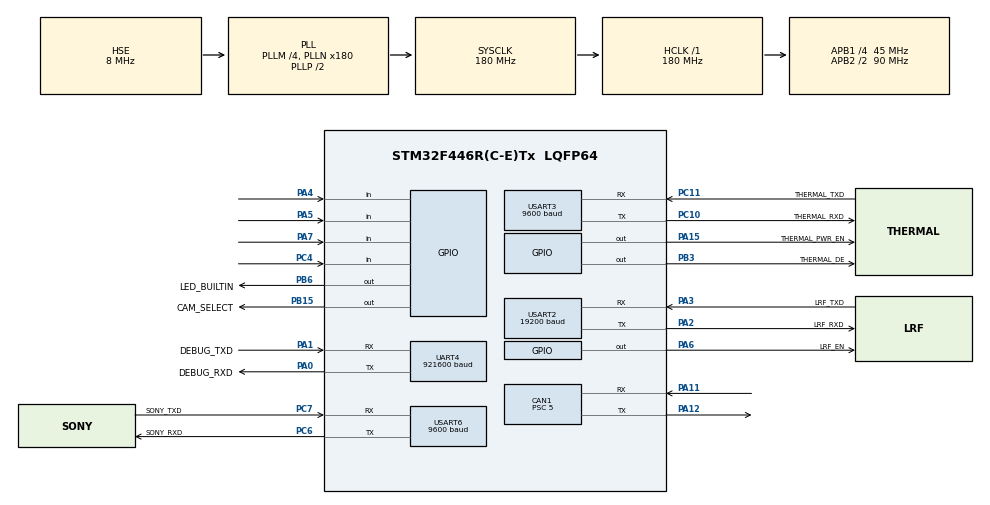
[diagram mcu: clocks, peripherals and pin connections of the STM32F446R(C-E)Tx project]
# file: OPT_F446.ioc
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CAN1.BS1=CAN_BS1_15TQ
CAN1.BS2=CAN_BS2_2TQ
CAN1.CalculateBaudRate=500000
CAN1.CalculateTimeBit=1999.99
CAN1.CalculateTimeQuantum=111.11111111111111
CAN1.Prescaler=5
IWDG.Prescaler=IWDG_PRESCALER_128
IWDG.Reload=125
Mcu.Family=STM32F4
Mcu.Name=STM32F446R(C-E)Tx
Mcu.Package=LQFP64
NVIC.CAN1_RX0_IRQn=true\:5\:0\:true\:false\:true\:true\:true
NVIC.CAN1_RX1_IRQn=true\:6\:0\:true\:false\:true\:true\:true
NVIC.CAN1_TX_IRQn=true\:4\:0\:true\:false\:true\:true\:true
NVIC.PriorityGroup=NVIC_PRIORITYGROUP_4
NVIC.UART4_IRQn=true\:15\:0\:true\:false\:false\:true\:true
NVIC.USART2_IRQn=true\:7\:0\:true\:false\:false\:true\:true
NVIC.USART3_IRQn=true\:9\:0\:true\:false\:false\:true\:true
NVIC.USART6_IRQn=true\:8\:0\:true\:false\:false\:true\:true
PA0-WKUP.GPIO_Label=DEBUG_RXD
PA0-WKUP.Mode=Asynchronous
PA0-WKUP.Signal=UART4_TX
PA1.GPIO_Label=DEBUG_TXD
PA1.Mode=Asynchronous
PA1.Signal=UART4_RX
PA10.GPIO_Label=RESV_TXD
PA10.Signal=USART1_RX
PA11.Mode=CAN_Activate
PA11.Signal=CAN1_RX
PA12.Mode=CAN_Activate
PA12.Signal=CAN1_TX
PA13.GPIO_Label=TMS
PA13.Mode=Serial_Wire
PA13.Signal=SYS_JTMS-SWDIO
PA14.GPIO_Label=TCK
PA14.Mode=Serial_Wire
PA14.Signal=SYS_JTCK-SWCLK
PA15.GPIO_Label=THERMAL_PWR_EN
PA15.GPIO_PuPd=GPIO_PULLUP
PA15.Signal=GPIO_Output
PA2.GPIO_Label=LRF_RXD
PA2.Mode=Asynchronous
PA2.Signal=USART2_TX
PA3.GPIO_Label=LRF_TXD
PA3.Mode=Asynchronous
PA3.Signal=USART2_RX
PA4.Signal=GPIO_Input
PA5.Signal=GPIO_Input
PA6.GPIO_Label=LRF_EN
PA6.GPIO_PuPd=GPIO_PULLUP
PA6.GPIO_Speed=GPIO_SPEED_FREQ_VERY_HIGH
PA6.PinState=GPIO_PIN_SET
PA6.Signal=GPIO_Output
PA7.Signal=GPIO_Input
PA9.GPIO_Label=RESV_RXD
PA9.Signal=USART1_TX
PB15.GPIO_Label=CAM_SELECT
PB15.GPIO_PuPd=GPIO_PULLUP
PB15.Signal=GPIO_Output
PB3.GPIO_Label=THERMAL_DE
PB3.GPIO_PuPd=GPIO_PULLUP
PB3.GPIO_Speed=GPIO_SPEED_FREQ_VERY_HIGH
PB3.Signal=GPIO_Output
PB6.GPIO_Label=LED_BUILTIN
PB6.GPIO_PuPd=GPIO_PULLUP
PB6.PinState=GPIO_PIN_SET
PB6.Signal=GPIO_Output
PC10.GPIO_Label=THERMAL_RXD
PC10.Mode=Asynchronous
PC10.Signal=USART3_TX
PC11.GPIO_Label=THERMAL_TXD
PC11.Mode=Asynchronous
PC11.Signal=USART3_RX
PC12.GPIO_Label=IMU_RXD
PC12.Signal=UART5_TX
PC4.Signal=GPIO_Input
PC6.GPIO_Label=SONY_RXD
PC6.Mode=Asynchronous
PC6.Signal=USART6_TX
PC7.GPIO_Label=SONY_TXD
PC7.Mode=Asynchronous
PC7.Signal=USART6_RX
PD2.GPIO_Label=IMU_TXD
PD2.Signal=UART5_RX
PH0-OSC_IN.Mode=HSE-External-Oscillator
PH0-OSC_IN.Signal=RCC_OSC_IN
PH1-OSC_OUT.Mode=HSE-External-Oscillator
PH1-OSC_OUT.Signal=RCC_OSC_OUT
ProjectManager.HeapSize=0x200
ProjectManager.StackSize=0x400
ProjectManager.TargetToolchain=TrueSTUDIO
RCC.48MHZClocksFreq_Value=84000000
RCC.AHBFreq_Value=180000000
RCC.APB1CLKDivider=RCC_HCLK_DIV4
RCC.APB1Freq_Value=45000000
RCC.APB1TimFreq_Value=90000000
RCC.APB2CLKDivider=RCC_HCLK_DIV2
RCC.APB2Freq_Value=90000000
RCC.APB2TimFreq_Value=180000000
RCC.CortexFreq_Value=180000000
RCC.FLatency-AdvancedSettings=FLASH_LATENCY_5
RCC.HCLKFreq_Value=180000000
RCC.HSE_VALUE=8000000
RCC.HSI_VALUE=16000000
RCC.PLLM=4
RCC.PLLN=180
RCC.PLLSourceVirtual=RCC_PLLSOURCE_HSE
RCC.SYSCLKFreq_VALUE=180000000
RCC.SYSCLKSource=RCC_SYSCLKSOURCE_PLLCLK
RCC.USBFreq_Value=180000000
RCC.VCOOutputFreq_Value=360000000
UART4.BaudRate=921600
UART4.VirtualMode=Asynchronous
USART2.BaudRate=19200
USART2.VirtualMode=VM_ASYNC
USART3.BaudRate=9600
USART3.VirtualMode=VM_ASYNC
USART6.BaudRate=9600
USART6.VirtualMode=VM_ASYNC
VP_IWDG_VS_IWDG.Mode=IWDG_Activate
board=NUCLEO-F446RE

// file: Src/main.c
/* USER CODE BEGIN Header */
/**
 ******************************************************************************
 * @file           : main.c
 * @brief          : Main program body
 ******************************************************************************
 * @attention
 *
 * <h2><center>&copy; Copyright (c) 2021 STMicroelectronics.
 * All rights reserved.</center></h2>
 *
 * This software component is licensed by ST under BSD 3-Clause license,
 * the "License"; You may not use this file except in compliance with the
 * License. You may obtain a copy of the License at:
 *                        opensource.org/licenses/BSD-3-Clause
 *
 ******************************************************************************
 */
/* USER CODE END Header */
#include "main.h"

/* USER CODE BEGIN Includes */
#include <string.h>
#include <stdio.h>
#include <stdlib.h>
#include <assert.h>

#include "rwsCanID.h"
#include "stm_hal_serial.h"
#include "libVisca.h"
/* USER CODE END Includes */

CAN_HandleTypeDef hcan1;

IWDG_HandleTypeDef hiwdg;

UART_HandleTypeDef huart4;
UART_HandleTypeDef huart2;
UART_HandleTypeDef huart3;
UART_HandleTypeDef huart6;

/* USER CODE BEGIN PV */
/* Private variables ---------------------------------------------------------*/
/* TODO Global Variables*/

#define DEBUG					0
#if DEBUG==1
#	define DEBUG_BUS			1
#	define DEBUG_CAM			1
#	define DEBUG_LRF			1
#endif	//if DEBUG==1

#define bitRead(value, bit) (((value) >> (bit)) & 0x01)
#define bitSet(value, bit) ((value) |= (1UL << (bit)))
#define bitClear(value, bit) ((value) &= ~(1UL << (bit)))
#define bitWrite(value, bit, bitvalue) (bitvalue ? bitSet(value, bit) : bitClear(value, bit))

#define UART_BUFSIZE	RING_BUFFER_SIZE

uint16_t bufLen = 0;
char buf[128];

#if DEBUG==1
Ring_Buffer_t tx4Buffer = { { 0 }, 0, 0 };
Ring_Buffer_t rx4Buffer = { { 0 }, 0, 0 };
TSerial debug = { &rx4Buffer, &tx4Buffer, &huart4 };

char vt100_home[10];
#define DEBUG_LINE_MAX		25
char vt100_lineX[DEBUG_LINE_MAX][16];
#endif	//if DEBUG==1

Ring_Buffer_t tx6Buffer = { { 0 }, 0, 0 };
Ring_Buffer_t rx6Buffer = { { 0 }, 0, 0 };
TSerial sony = { &rx6Buffer, &tx6Buffer, &huart6 };
volatile uint8_t sonyRetState = 0;

Ring_Buffer_t tx3Buffer = { { 0 }, 0, 0 };
Ring_Buffer_t rx3Buffer = { { 0 }, 0, 0 };
TSerial thermal = { &rx3Buffer, &tx3Buffer, &huart3 };
volatile uint8_t thermalRetState = 0;

Ring_Buffer_t tx2Buffer = { { 0 }, 0, 0 };
Ring_Buffer_t rx2Buffer = { { 0 }, 0, 0 };
TSerial lrf = { &rx2Buffer, &tx2Buffer, &huart2 };

VISCAInterface_t sonyIface;
VISCACamera_t sonyCamera;

#define SONY_FOCUS_SPEED			1
typedef enum
{
	SONY_FOCUS_SPEED_0 = 0,
	SONY_FOCUS_SPEED_1,
	SONY_FOCUS_SPEED_2,
	SONY_FOCUS_SPEED_3,
	SONY_FOCUS_SPEED_4,
	SONY_FOCUS_SPEED_5,
	SONY_FOCUS_SPEED_6,
	SONY_FOCUS_SPEED_7
} SonyFocusSpeed_e;
uint8_t sonyFocusSpeedByZoom[4] = { SONY_FOCUS_SPEED_3, SONY_FOCUS_SPEED_3, SONY_FOCUS_SPEED_2,
		SONY_FOCUS_SPEED_2 };

typedef enum
{
	ZOOM_IN_bit = 1,
	ZOOM_OUT_bit,
	FOCUS_FAR_bit,
	FOCUS_NEAR_bit,
	BRIGHTNESS_UP_bit,
	BRIGHTNESS_DOWN_bit
} ZoomFocusAperture_bitMasking;

typedef enum
{
	zf_none = 0,
	zf_plus = 1,
	zf_min = 2
} ZoomFocus_value;

typedef enum
{
	CAM_ST_NONE = 0,
	CAM_ST_SONY = 1,
	CAM_ST_THERMAL = 2
} CameraState_e;

typedef enum
{
	BR_ST_NONE = 0,
	BR_ST_UP,
	BR_ST_DOWN
} BrightnessState_e;

typedef struct
{
	uint8_t camState;
	uint8_t zoomState;
	uint8_t focusState;
	uint8_t zoomValue;
	uint8_t focusValue;
	uint8_t brightnessState;
} TCameraData;
TCameraData camData = { CAM_ST_NONE, 0, 0, 0, 0 };

const uint8_t zoomMin[7] = { 0xFF, 0x01, 0, 0x40, 0, 0, 0x41 };
const uint8_t zoomMax[7] = { 0xFF, 0x01, 0, 0x20, 0, 0, 0x21 };
const uint8_t focusMin[7] = { 0xFF, 0x01, 0x01, 0, 0, 0, 0x02 };
const uint8_t focusMax[7] = { 0xFF, 0x01, 0, 0x80, 0, 0, 0x81 };
const uint8_t zfStop[7] = { 0xFF, 0x01, 0, 0, 0, 0, 0x01 };

#define LRF_BUFSIZE		16
typedef enum
{
	LRF_STATE_STANDBY,
	LRF_STATE_POWER_ON,
	LRF_STATE_READY,
	LRF_STATE_1_MEASUREMENT,
	LRF_STATE_DELAY_MEASUREMENT,
	LRF_STATE_CONT_MEASUREMENT,
	LRF_STATE_POWER_OFF
} LRF_StateTypeDef;

typedef enum
{
	LRF_CMD_ENABLE_bit = 0,
	LRF_CMD_START_bit = 1,
	LRF_CMD_START_CONT_bit = 2,
	LRF_CMD_POINTER_bit = 3
} LRF_CommandTypeDef;

typedef struct
{
	uint8_t state;
	uint8_t validCounter;
	uint16_t distance;
	uint8_t buf[LRF_BUFSIZE];
} LRF_HandleTypeDef;
LRF_HandleTypeDef lrfData = { LRF_STATE_STANDBY, 0, 0, { 0 } };

#define CAN_BUFSIZE		8

CAN_TxHeaderTypeDef can1TxHeader;
CAN_RxHeaderTypeDef can1RxHeader;
uint32_t can1TxMailBox;
uint8_t can1TxBuffer[CAN_BUFSIZE];
uint8_t can1RxBuffer[CAN_BUFSIZE];
const uint32_t CAN_RECEIVE_TIMEOUT = 500;

volatile bool canTransmitState = false;

typedef struct
{
	uint32_t id;
	volatile bool state;
	uint8_t data[8];
	uint8_t size;
	uint8_t online;
} TCanRecvBuffer;

typedef struct
{
	uint32_t id;
	uint8_t data[8];
	uint8_t size;
} TCanSendBuffer;

TCanRecvBuffer canRecvButton = { CAN_ID_RWS_BUTTON, false, { 0 }, 3, 0 };

TCanSendBuffer canSendOptLrf = { CAN_ID_RWS_OPT_LRF, { 0 }, 3 };
TCanSendBuffer canSendOptCam = { CAN_ID_RWS_OPT_CAM, { 0 }, 1 };
/* USER CODE END PV */

void SystemClock_Config(void);
static void MX_GPIO_Init(void);
static void MX_CAN1_Init(void);
static void MX_USART2_UART_Init(void);
static void MX_USART3_UART_Init(void);
static void MX_USART6_UART_Init(void);
static void MX_UART4_Init(void);
static void MX_IWDG_Init(void);
/* USER CODE BEGIN PFP */
/* Private function prototypes -----------------------------------------------*/
static void CAN_Config();
static void canHandler();
static void camHandler();
static void lrfHandler();
/* USER CODE END PFP */

int main(void)
{

  /* MCU Configuration--------------------------------------------------------*/

  /* Reset of all peripherals, Initializes the Flash interface and the Systick. */
  HAL_Init();

  /* Configure the system clock */
  SystemClock_Config();

  /* USER CODE BEGIN SysInit */
#if DEBUG==1
	sprintf(vt100_home, "\x1b[2J\x1b[H");
	unsigned char debugLine = 0;
	for ( debugLine = 0; debugLine < DEBUG_LINE_MAX; debugLine++ )
		sprintf(vt100_lineX[debugLine], "\x1b[%d;0H\x1b[2K", debugLine);
#endif	//if DEBUG==1
  /* USER CODE END SysInit */

  /* Initialize all configured peripherals */
  MX_GPIO_Init();
  MX_CAN1_Init();
  MX_USART2_UART_Init();
  MX_USART3_UART_Init();
  MX_USART6_UART_Init();
  MX_UART4_Init();
  MX_IWDG_Init();
  /* USER CODE BEGIN 2 */
	/* TODO Initialization*/
	HAL_IWDG_Init(&hiwdg);
	HAL_IWDG_Refresh(&hiwdg);

#if DEBUG==1
	serial_init(&debug);

	bufLen = sprintf(buf, "%sOptronik Firmware\r\n", vt100_home);
	serial_write_str(&debug, buf, bufLen);
#endif	//if DEBUG==1

	sonyIface.port_fd = &sony;
	sonyIface.broadcast = 0;
	sonyCamera.address = 1;

	serial_init(&sony);
	serial_init(&thermal);
	serial_init(&lrf);

	/*##-1- Configure the CAN peripheral #######################################*/
	CAN_Config();

  /* USER CODE END 2 */

  /* Infinite loop */
  /* USER CODE BEGIN WHILE */
	uint32_t millis;
	uint32_t ledTimer = 1000;

	while (1) {
		HAL_IWDG_Refresh(&hiwdg);
		millis = HAL_GetTick();
    /* USER CODE END WHILE */

    /* USER CODE BEGIN 3 */
		/* TODO BEGIN LOOP*/

		canHandler();
		lrfHandler();
		camHandler();

		if (millis >= ledTimer) {
			ledTimer = millis + 500;

			if (canRecvButton.online)
				HAL_GPIO_TogglePin(LED_BUILTIN_GPIO_Port, LED_BUILTIN_Pin);
			else
				HAL_GPIO_WritePin(LED_BUILTIN_GPIO_Port, LED_BUILTIN_Pin, GPIO_PIN_RESET);
		}

#if DEBUG_CAM==1
		if (serial_available(&debug)) {
			char c = serial_read(&debug);
			uint16_t shutterValue = 0x6;
			uint8_t mode = 0;

			switch (c)
			{
			case 'g':
				/* get auto exp mode */
				if (VISCA_get_auto_exp_mode(&sonyIface, &sonyCamera, &mode) == VISCA_SUCCESS)
					bufLen = sprintf(buf, "%sauto exp mode: %d\r\n", vt100_lineX[4], mode);
				else
					bufLen = sprintf(buf, "%sfailed to get AE mode\r\n", vt100_lineX[4]);
				serial_write_str(&debug, buf, bufLen);
				break;
			case 'f':
				/* auto exp set to full auto */
				VISCA_set_auto_exp_mode(&sonyIface, &sonyCamera, VISCA_AUTO_EXP_FULL_AUTO);
				bufLen = sprintf(buf, "%sauto exp: FULL AUTO mode\r\n", vt100_lineX[4]);
				serial_write_str(&debug, buf, bufLen);
				break;
			case 's':
				/* auto exp set to shutter priority */
				VISCA_set_auto_exp_mode(&sonyIface, &sonyCamera, VISCA_AUTO_EXP_SHUTTER_PRIORITY);
				VISCA_get_shutter_value(&sonyIface, &sonyCamera, &shutterValue);
				bufLen = sprintf(buf, "%sauto exp: shutterPriority mode\tshutterValue= 0x%02X\r\n",
						vt100_lineX[4], shutterValue);
				serial_write_str(&debug, buf, bufLen);
				break;
			case 'u':
				/* shutter value up */
				VISCA_set_shutter_up(&sonyIface, &sonyCamera);
				VISCA_get_shutter_value(&sonyIface, &sonyCamera, &shutterValue);
				bufLen = sprintf(buf, "%sshutterUP Value= 0x%02X\r\n", vt100_lineX[4],
						shutterValue);
				serial_write_str(&debug, buf, bufLen);
				break;
			case 'd':
				/* shutter value down */
				VISCA_set_shutter_down(&sonyIface, &sonyCamera);
				VISCA_get_shutter_value(&sonyIface, &sonyCamera, &shutterValue);
				bufLen = sprintf(buf, "%sshutterDown Value= 0x%02X\r\n", vt100_lineX[4],
						shutterValue);
				serial_write_str(&debug, buf, bufLen);
				break;
			case 'r':
				/* shutter value reset */
				VISCA_set_shutter_reset(&sonyIface, &sonyCamera);
				VISCA_get_shutter_value(&sonyIface, &sonyCamera, &shutterValue);
				bufLen = sprintf(buf, "%sRESET shutterValue= 0x%02X\r\n", vt100_lineX[4],
						shutterValue);
				serial_write_str(&debug, buf, bufLen);
				break;
			case 'v':
				if (VISCA_get_shutter_value(&sonyIface, &sonyCamera, &shutterValue) == VISCA_SUCCESS)
					bufLen = sprintf(buf, "%sshutterValue= 0x%02X\r\n", vt100_lineX[4],
							shutterValue);
				else
					bufLen = sprintf(buf, "%sfailed to get shutterValue\r\n", vt100_lineX[4]);
				serial_write_str(&debug, buf, bufLen);
				break;
			default:
				break;
			}
		}
#endif	//if DEBUG_CAM==1

		/* TODO END LOOP*/
	}

  /* USER CODE END 3 */
}

void SystemClock_Config(void)
{
  RCC_OscInitTypeDef RCC_OscInitStruct = {0};
  RCC_ClkInitTypeDef RCC_ClkInitStruct = {0};

  /** Configure the main internal regulator output voltage
  */
  __HAL_RCC_PWR_CLK_ENABLE();
  __HAL_PWR_VOLTAGESCALING_CONFIG(PWR_REGULATOR_VOLTAGE_SCALE1);
  /** Initializes the RCC Oscillators according to the specified parameters
  * in the RCC_OscInitTypeDef structure.
  */
  RCC_OscInitStruct.OscillatorType = RCC_OSCILLATORTYPE_LSI|RCC_OSCILLATORTYPE_HSE;
  RCC_OscInitStruct.HSEState = RCC_HSE_ON;
  RCC_OscInitStruct.LSIState = RCC_LSI_ON;
  RCC_OscInitStruct.PLL.PLLState = RCC_PLL_ON;
  RCC_OscInitStruct.PLL.PLLSource = RCC_PLLSOURCE_HSE;
  RCC_OscInitStruct.PLL.PLLM = 4;
  RCC_OscInitStruct.PLL.PLLN = 180;
  RCC_OscInitStruct.PLL.PLLP = RCC_PLLP_DIV2;
  RCC_OscInitStruct.PLL.PLLQ = 2;
  RCC_OscInitStruct.PLL.PLLR = 2;
  if (HAL_RCC_OscConfig(&RCC_OscInitStruct) != HAL_OK)
  {
    Error_Handler();
  }
  /** Activate the Over-Drive mode
  */
  if (HAL_PWREx_EnableOverDrive() != HAL_OK)
  {
    Error_Handler();
  }
  /** Initializes the CPU, AHB and APB buses clocks
  */
  RCC_ClkInitStruct.ClockType = RCC_CLOCKTYPE_HCLK|RCC_CLOCKTYPE_SYSCLK
                              |RCC_CLOCKTYPE_PCLK1|RCC_CLOCKTYPE_PCLK2;
  RCC_ClkInitStruct.SYSCLKSource = RCC_SYSCLKSOURCE_PLLCLK;
  RCC_ClkInitStruct.AHBCLKDivider = RCC_SYSCLK_DIV1;
  RCC_ClkInitStruct.APB1CLKDivider = RCC_HCLK_DIV4;
  RCC_ClkInitStruct.APB2CLKDivider = RCC_HCLK_DIV2;

  if (HAL_RCC_ClockConfig(&RCC_ClkInitStruct, FLASH_LATENCY_5) != HAL_OK)
  {
    Error_Handler();
  }
}

static void MX_CAN1_Init(void)
{

  hcan1.Instance = CAN1;
  hcan1.Init.Prescaler = 5;
  hcan1.Init.Mode = CAN_MODE_NORMAL;
  hcan1.Init.SyncJumpWidth = CAN_SJW_1TQ;
  hcan1.Init.TimeSeg1 = CAN_BS1_15TQ;
  hcan1.Init.TimeSeg2 = CAN_BS2_2TQ;
  hcan1.Init.TimeTriggeredMode = DISABLE;
  hcan1.Init.AutoBusOff = DISABLE;
  hcan1.Init.AutoWakeUp = DISABLE;
  hcan1.Init.AutoRetransmission = DISABLE;
  hcan1.Init.ReceiveFifoLocked = DISABLE;
  hcan1.Init.TransmitFifoPriority = DISABLE;
  if (HAL_CAN_Init(&hcan1) != HAL_OK)
  {
    Error_Handler();
  }

}

static void MX_IWDG_Init(void)
{

  hiwdg.Instance = IWDG;
  hiwdg.Init.Prescaler = IWDG_PRESCALER_128;
  hiwdg.Init.Reload = 125;
  if (HAL_IWDG_Init(&hiwdg) != HAL_OK)
  {
    Error_Handler();
  }

}

static void MX_UART4_Init(void)
{

  huart4.Instance = UART4;
  huart4.Init.BaudRate = 921600;
  huart4.Init.WordLength = UART_WORDLENGTH_8B;
  huart4.Init.StopBits = UART_STOPBITS_1;
  huart4.Init.Parity = UART_PARITY_NONE;
  huart4.Init.Mode = UART_MODE_TX_RX;
  huart4.Init.HwFlowCtl = UART_HWCONTROL_NONE;
  huart4.Init.OverSampling = UART_OVERSAMPLING_16;
  if (HAL_UART_Init(&huart4) != HAL_OK)
  {
    Error_Handler();
  }

}

static void MX_USART2_UART_Init(void)
{

  huart2.Instance = USART2;
  huart2.Init.BaudRate = 19200;
  huart2.Init.WordLength = UART_WORDLENGTH_8B;
  huart2.Init.StopBits = UART_STOPBITS_1;
  huart2.Init.Parity = UART_PARITY_NONE;
  huart2.Init.Mode = UART_MODE_TX_RX;
  huart2.Init.HwFlowCtl = UART_HWCONTROL_NONE;
  huart2.Init.OverSampling = UART_OVERSAMPLING_16;
  if (HAL_UART_Init(&huart2) != HAL_OK)
  {
    Error_Handler();
  }

}

static void MX_USART3_UART_Init(void)
{

  huart3.Instance = USART3;
  huart3.Init.BaudRate = 9600;
  huart3.Init.WordLength = UART_WORDLENGTH_8B;
  huart3.Init.StopBits = UART_STOPBITS_1;
  huart3.Init.Parity = UART_PARITY_NONE;
  huart3.Init.Mode = UART_MODE_TX_RX;
  huart3.Init.HwFlowCtl = UART_HWCONTROL_NONE;
  huart3.Init.OverSampling = UART_OVERSAMPLING_16;
  if (HAL_UART_Init(&huart3) != HAL_OK)
  {
    Error_Handler();
  }

}

static void MX_USART6_UART_Init(void)
{

  huart6.Instance = USART6;
  huart6.Init.BaudRate = 9600;
  huart6.Init.WordLength = UART_WORDLENGTH_8B;
  huart6.Init.StopBits = UART_STOPBITS_1;
  huart6.Init.Parity = UART_PARITY_NONE;
  huart6.Init.Mode = UART_MODE_TX_RX;
  huart6.Init.HwFlowCtl = UART_HWCONTROL_NONE;
  huart6.Init.OverSampling = UART_OVERSAMPLING_16;
  if (HAL_UART_Init(&huart6) != HAL_OK)
  {
    Error_Handler();
  }

}

static void MX_GPIO_Init(void)
{
  GPIO_InitTypeDef GPIO_InitStruct = {0};

  /* GPIO Ports Clock Enable */
  __HAL_RCC_GPIOC_CLK_ENABLE();
  __HAL_RCC_GPIOH_CLK_ENABLE();
  __HAL_RCC_GPIOA_CLK_ENABLE();
  __HAL_RCC_GPIOB_CLK_ENABLE();
  __HAL_RCC_GPIOD_CLK_ENABLE();

  /*Configure GPIO pin Output Level */
  HAL_GPIO_WritePin(LRF_EN_GPIO_Port, LRF_EN_Pin, GPIO_PIN_SET);

  /*Configure GPIO pin Output Level */
  HAL_GPIO_WritePin(GPIOB, CAM_SELECT_Pin|THERMAL_DE_Pin, GPIO_PIN_RESET);

  /*Configure GPIO pin Output Level */
  HAL_GPIO_WritePin(THERMAL_PWR_EN_GPIO_Port, THERMAL_PWR_EN_Pin, GPIO_PIN_RESET);

  /*Configure GPIO pin Output Level */
  HAL_GPIO_WritePin(LED_BUILTIN_GPIO_Port, LED_BUILTIN_Pin, GPIO_PIN_SET);

  /*Configure GPIO pins : PC13 PC14 PC15 PC0
                           PC1 PC2 PC3 PC5
                           PC8 PC9 */
  GPIO_InitStruct.Pin = GPIO_PIN_13|GPIO_PIN_14|GPIO_PIN_15|GPIO_PIN_0
                          |GPIO_PIN_1|GPIO_PIN_2|GPIO_PIN_3|GPIO_PIN_5
                          |GPIO_PIN_8|GPIO_PIN_9;
  GPIO_InitStruct.Mode = GPIO_MODE_ANALOG;
  GPIO_InitStruct.Pull = GPIO_NOPULL;
  HAL_GPIO_Init(GPIOC, &GPIO_InitStruct);

  /*Configure GPIO pins : PA4 PA5 PA7 */
  GPIO_InitStruct.Pin = GPIO_PIN_4|GPIO_PIN_5|GPIO_PIN_7;
  GPIO_InitStruct.Mode = GPIO_MODE_INPUT;
  GPIO_InitStruct.Pull = GPIO_NOPULL;
  HAL_GPIO_Init(GPIOA, &GPIO_InitStruct);

  /*Configure GPIO pin : LRF_EN_Pin */
  GPIO_InitStruct.Pin = LRF_EN_Pin;
  GPIO_InitStruct.Mode = GPIO_MODE_OUTPUT_PP;
  GPIO_InitStruct.Pull = GPIO_PULLUP;
  GPIO_InitStruct.Speed = GPIO_SPEED_FREQ_VERY_HIGH;
  HAL_GPIO_Init(LRF_EN_GPIO_Port, &GPIO_InitStruct);

  /*Configure GPIO pin : PC4 */
  GPIO_InitStruct.Pin = GPIO_PIN_4;
  GPIO_InitStruct.Mode = GPIO_MODE_INPUT;
  GPIO_InitStruct.Pull = GPIO_NOPULL;
  HAL_GPIO_Init(GPIOC, &GPIO_InitStruct);

  /*Configure GPIO pins : PB0 PB1 PB2 PB10
                           PB12 PB13 PB14 PB4
                           PB5 PB7 PB8 PB9 */
  GPIO_InitStruct.Pin = GPIO_PIN_0|GPIO_PIN_1|GPIO_PIN_2|GPIO_PIN_10
                          |GPIO_PIN_12|GPIO_PIN_13|GPIO_PIN_14|GPIO_PIN_4
                          |GPIO_PIN_5|GPIO_PIN_7|GPIO_PIN_8|GPIO_PIN_9;
  GPIO_InitStruct.Mode = GPIO_MODE_ANALOG;
  GPIO_InitStruct.Pull = GPIO_NOPULL;
  HAL_GPIO_Init(GPIOB, &GPIO_InitStruct);

  /*Configure GPIO pins : CAM_SELECT_Pin LED_BUILTIN_Pin */
  GPIO_InitStruct.Pin = CAM_SELECT_Pin|LED_BUILTIN_Pin;
  GPIO_InitStruct.Mode = GPIO_MODE_OUTPUT_PP;
  GPIO_InitStruct.Pull = GPIO_PULLUP;
  GPIO_InitStruct.Speed = GPIO_SPEED_FREQ_LOW;
  HAL_GPIO_Init(GPIOB, &GPIO_InitStruct);

  /*Configure GPIO pin : PA8 */
  GPIO_InitStruct.Pin = GPIO_PIN_8;
  GPIO_InitStruct.Mode = GPIO_MODE_ANALOG;
  GPIO_InitStruct.Pull = GPIO_NOPULL;
  HAL_GPIO_Init(GPIOA, &GPIO_InitStruct);

  /*Configure GPIO pins : RESV_RXD_Pin RESV_TXD_Pin */
  GPIO_InitStruct.Pin = RESV_RXD_Pin|RESV_TXD_Pin;
  GPIO_InitStruct.Mode = GPIO_MODE_AF_PP;
  GPIO_InitStruct.Pull = GPIO_NOPULL;
  GPIO_InitStruct.Speed = GPIO_SPEED_FREQ_VERY_HIGH;
  GPIO_InitStruct.Alternate = GPIO_AF7_USART1;
  HAL_GPIO_Init(GPIOA, &GPIO_InitStruct);

  /*Configure GPIO pin : THERMAL_PWR_EN_Pin */
  GPIO_InitStruct.Pin = THERMAL_PWR_EN_Pin;
  GPIO_InitStruct.Mode = GPIO_MODE_OUTPUT_PP;
  GPIO_InitStruct.Pull = GPIO_PULLUP;
  GPIO_InitStruct.Speed = GPIO_SPEED_FREQ_LOW;
  HAL_GPIO_Init(THERMAL_PWR_EN_GPIO_Port, &GPIO_InitStruct);

  /*Configure GPIO pin : IMU_RXD_Pin */
  GPIO_InitStruct.Pin = IMU_RXD_Pin;
  GPIO_InitStruct.Mode = GPIO_MODE_AF_PP;
  GPIO_InitStruct.Pull = GPIO_NOPULL;
  GPIO_InitStruct.Speed = GPIO_SPEED_FREQ_VERY_HIGH;
  GPIO_InitStruct.Alternate = GPIO_AF8_UART5;
  HAL_GPIO_Init(IMU_RXD_GPIO_Port, &GPIO_InitStruct);

  /*Configure GPIO pin : IMU_TXD_Pin */
  GPIO_InitStruct.Pin = IMU_TXD_Pin;
  GPIO_InitStruct.Mode = GPIO_MODE_AF_PP;
  GPIO_InitStruct.Pull = GPIO_NOPULL;
  GPIO_InitStruct.Speed = GPIO_SPEED_FREQ_VERY_HIGH;
  GPIO_InitStruct.Alternate = GPIO_AF8_UART5;
  HAL_GPIO_Init(IMU_TXD_GPIO_Port, &GPIO_InitStruct);

  /*Configure GPIO pin : THERMAL_DE_Pin */
  GPIO_InitStruct.Pin = THERMAL_DE_Pin;
  GPIO_InitStruct.Mode = GPIO_MODE_OUTPUT_PP;
  GPIO_InitStruct.Pull = GPIO_PULLUP;
  GPIO_InitStruct.Speed = GPIO_SPEED_FREQ_VERY_HIGH;
  HAL_GPIO_Init(THERMAL_DE_GPIO_Port, &GPIO_InitStruct);

}

/* USER CODE BEGIN 4 */
/* TODO Begin of Functions Declaration*/

static void camHandler()
{
	uint32_t millis = HAL_GetTick();
	uint32_t _u32;
	static uint32_t sendTimer = 1000;
#if DEBUG_CAM==1
	const uint8_t startLineDebug = 3;
#endif	//if DEBUG_CAM==1
	static uint8_t firstTimeOnly = 0;

	if (!firstTimeOnly) {
		if (millis >= 10000) {

			if (camData.camState == CAM_ST_SONY && camData.zoomValue == 0) {
				VISCA_set_focus_auto(&sonyIface, &sonyCamera, VISCA_FOCUS_AUTO_ON);
				VISCA_set_zoom_value(&sonyIface, &sonyCamera, 0x2000);

				VISCA_set_auto_exp_mode(&sonyIface, &sonyCamera, VISCA_AUTO_EXP_SHUTTER_PRIORITY);
				VISCA_set_shutter_value(&sonyIface, &sonyCamera, 0x08);
			}

			firstTimeOnly = 1;
		}
	}

	if (thermalRetState == HAL_UART_RETURN_TX_DONE)
		HAL_GPIO_WritePin(THERMAL_DE_GPIO_Port, THERMAL_DE_Pin, GPIO_PIN_RESET);

	/* CAMERA SELECT */
	if (bitRead(canRecvButton.data[1], 0)) {
		if (camData.camState != CAM_ST_THERMAL) {
			camData.camState = CAM_ST_THERMAL;
			camData.zoomState = 0;
			camData.focusState = 0;
			camData.zoomValue = 0;
			camData.focusValue = 0;
			HAL_GPIO_WritePin(THERMAL_PWR_EN_GPIO_Port, THERMAL_PWR_EN_Pin, GPIO_PIN_SET);
			HAL_GPIO_WritePin(CAM_SELECT_GPIO_Port, CAM_SELECT_Pin, GPIO_PIN_SET);
#if DEBUG_CAM==1
			bufLen = sprintf(buf, "%sCAM= THERMAL", vt100_lineX[startLineDebug + 0]);
			serial_write_str(&debug, buf, bufLen);
#endif	//if DEBUG_CAM==1

		}
	}
	else {
		if (camData.camState != CAM_ST_SONY) {
			camData.camState = CAM_ST_SONY;
			camData.zoomState = 0;
			camData.focusState = 0;
			camData.zoomValue = 0;
			camData.focusValue = 0;
			HAL_GPIO_WritePin(THERMAL_PWR_EN_GPIO_Port, THERMAL_PWR_EN_Pin, GPIO_PIN_RESET);
			HAL_GPIO_WritePin(CAM_SELECT_GPIO_Port, CAM_SELECT_Pin, GPIO_PIN_RESET);

			VISCA_set_focus_auto(&sonyIface, &sonyCamera, VISCA_FOCUS_AUTO_ON);
			VISCA_set_zoom_value(&sonyIface, &sonyCamera, 0x2000);

			VISCA_set_auto_exp_mode(&sonyIface, &sonyCamera, VISCA_AUTO_EXP_SHUTTER_PRIORITY);
			VISCA_set_shutter_value(&sonyIface, &sonyCamera, 0x08);

//			VISCA_set_aperture_value(&sonyIface, &sonyCamera, 15);
//			VISCA_set_cam_stabilizer(&sonyIface, &sonyCamera, VISCA_CAM_STABILIZER_ON);
#if DEBUG_CAM==1
			bufLen = sprintf(buf, "%sCAM= SONY", vt100_lineX[startLineDebug + 0]);
			serial_write_str(&debug, buf, bufLen);
#endif	//if DEBUG_CAM==1
		}
	}

	/* ZOOM */
	if (bitRead(canRecvButton.data[1], ZOOM_IN_bit)) {
		if (camData.zoomState != zf_plus) {
			camData.zoomState = zf_plus;

			/* SONY */
			if (camData.camState == CAM_ST_SONY) {
				if (camData.zoomValue < 3) {
					camData.zoomValue++;

					/* send zoom command to sony */
					if (camData.zoomValue == 1)
						_u32 = 0x4000;
					else if (camData.zoomValue == 2)
						_u32 = 0x6000;
					else if (camData.zoomValue == 3)
						_u32 = 0x7000;

					VISCA_set_focus_auto(&sonyIface, &sonyCamera, VISCA_FOCUS_AUTO_ON);
					VISCA_set_zoom_value(&sonyIface, &sonyCamera, _u32);
#if DEBUG_CAM==1
					bufLen = sprintf(buf, "%szoomValue= %d", vt100_lineX[startLineDebug + 1],
							camData.zoomValue);
					serial_write_str(&debug, buf, bufLen);
#endif	//if DEBUG_CAM==1
				}
			}
			/* THERMAL */
			else if (camData.camState == CAM_ST_THERMAL) {
				HAL_GPIO_WritePin(THERMAL_DE_GPIO_Port, THERMAL_DE_Pin, GPIO_PIN_SET);
				serial_write_str(&thermal, (char *) zoomMax, 7);
#if DEBUG_CAM==1
				bufLen = sprintf(buf, "%sZOOM IN", vt100_lineX[startLineDebug + 1]);
				serial_write_str(&debug, buf, bufLen);
#endif	//if DEBUG_CAM==1
			}

		}  //if(camData.zoomState!=zf_plus){
	}	//if(bitRead(canRecvButton.data[1],ZOOM_IN_bit)){
	else if (bitRead(canRecvButton.data[1], ZOOM_OUT_bit)) {
		if (camData.zoomState != zf_min) {
			camData.zoomState = zf_min;

			/* SONY */
			if (camData.camState == CAM_ST_SONY) {
				if (camData.zoomValue > 0) {
					camData.zoomValue--;

					/* send zoom command to sony */
					if (camData.zoomValue == 0)
						_u32 = 0x2000;
					else if (camData.zoomValue == 1)
						_u32 = 0x4000;
					else if (camData.zoomValue == 2)
						_u32 = 0x6000;

					VISCA_set_focus_auto(&sonyIface, &sonyCamera, VISCA_FOCUS_AUTO_ON);
					VISCA_set_zoom_value(&sonyIface, &sonyCamera, _u32);
#if DEBUG_CAM==1
					bufLen = sprintf(buf, "%szoomValue= %d", vt100_lineX[startLineDebug + 1],
							camData.zoomValue);
					serial_write_str(&debug, buf, bufLen);
#endif	//if DEBUG_CAM==1
				}
			}
			/* THERMAL */
			else if (camData.camState == CAM_ST_THERMAL) {
				HAL_GPIO_WritePin(THERMAL_DE_GPIO_Port, THERMAL_DE_Pin, GPIO_PIN_SET);
				serial_write_str(&thermal, (char *) zoomMin, 7);
#if DEBUG_CAM==1
				bufLen = sprintf(buf, "%sZOOM OUT", vt100_lineX[startLineDebug + 1]);
				serial_write_str(&debug, buf, bufLen);
#endif	//if DEBUG_CAM==1
			}
		}
	}	//else if(bitRead(canRecvButton.data[1],ZOOM_OUT_bit)){
	else {
		if (camData.zoomState != zf_none) {
			camData.zoomState = zf_none;

			if (camData.camState == CAM_ST_THERMAL) {
				HAL_GPIO_WritePin(THERMAL_DE_GPIO_Port, THERMAL_DE_Pin, GPIO_PIN_SET);
				serial_write_str(&thermal, (char *) zfStop, 7);
#if DEBUG_CAM==1
				bufLen = sprintf(buf, "%sZOOM STOP", vt100_lineX[startLineDebug + 1]);
				serial_write_str(&debug, buf, bufLen);
#endif	//if DEBUG_CAM==1
			}
		}
	}

	/* FOCUS */
	if (bitRead(canRecvButton.data[1], FOCUS_FAR_bit)) {
		if (camData.focusState != zf_plus) {
			camData.focusState = zf_plus;

			/* SONY */
			if (camData.camState == CAM_ST_SONY) {
				VISCA_set_focus_auto(&sonyIface, &sonyCamera, VISCA_FOCUS_AUTO_OFF);
				VISCA_set_focus_far_speed(&sonyIface, &sonyCamera,
						sonyFocusSpeedByZoom[camData.zoomValue]);
			}
			/* THERMAL */
			else if (camData.camState == CAM_ST_THERMAL) {
				HAL_GPIO_WritePin(THERMAL_DE_GPIO_Port, THERMAL_DE_Pin, GPIO_PIN_SET);
				serial_write_str(&thermal, (char *) focusMax, 7);
			}
#if DEBUG_CAM==1
			bufLen = sprintf(buf, "%sFOCUS FAR", vt100_lineX[startLineDebug + 1]);
			serial_write_str(&debug, buf, bufLen);
#endif	//if DEBUG_CAM==1
		}
	}
	else if (bitRead(canRecvButton.data[1], FOCUS_NEAR_bit)) {
		if (camData.focusState != zf_min) {
			camData.focusState = zf_min;

			/* SONY */
			if (camData.camState == CAM_ST_SONY) {
				VISCA_set_focus_auto(&sonyIface, &sonyCamera, VISCA_FOCUS_AUTO_OFF);
				VISCA_set_focus_near_speed(&sonyIface, &sonyCamera,
						sonyFocusSpeedByZoom[camData.zoomValue]);
			}
			/* THERMAL */
			else if (camData.camState == CAM_ST_THERMAL) {
				HAL_GPIO_WritePin(THERMAL_DE_GPIO_Port, THERMAL_DE_Pin, GPIO_PIN_SET);
				serial_write_str(&thermal, (char *) focusMin, 7);
			}
#if DEBUG_CAM==1
			bufLen = sprintf(buf, "%sFOCUS NEAR", vt100_lineX[startLineDebug + 1]);
			serial_write_str(&debug, buf, bufLen);
#endif	//if DEBUG_CAM==1
		}
	}
	else {
		if (camData.focusState != zf_none) {
			camData.focusState = zf_none;

			/* SONY */
			if (camData.camState == CAM_ST_SONY)
				VISCA_set_focus_stop(&sonyIface, &sonyCamera);
			/* THERMAL */
			else if (camData.camState == CAM_ST_THERMAL) {
				HAL_GPIO_WritePin(THERMAL_DE_GPIO_Port, THERMAL_DE_Pin, GPIO_PIN_SET);
				serial_write_str(&thermal, (char *) zfStop, 7);
			}
#if DEBUG_CAM==1
			bufLen = sprintf(buf, "%sFOCUS STOP", vt100_lineX[startLineDebug + 1]);
			serial_write_str(&debug, buf, bufLen);
#endif	//if DEBUG_CAM==1
		}

	}	// end FOCUS

//	/* APERTURE */
//	if (bitRead(canRecvButton.data[1], APERTURE_UP_bit)) {
//		if (camData.apertureState != AP_ST_UP) {
//			camData.apertureState = AP_ST_UP;
//
//			if (camData.camState == CAM_ST_SONY) {
////				VISCA_set_aperture_value(&sonyIface,&sonyCamera,15);
////				VISCA_set_aperture_up(&sonyIface, &sonyCamera);
//				VISCA_set_bright_up(&sonyIface, &sonyCamera);
//#if DEBUG_CAM==1
//				_i16 = 0;
//				_u16 = 0;
////				VISCA_get_aperture_value(&sonyIface, &sonyCamera, &_i16);
//				VISCA_get_bright_value(&sonyIface, &sonyCamera, &_u16);
//				bufLen = sprintf(buf, "%sAPERTURE UP, val= %d", vt100_lineX[startLineDebug + 1],
//						_u16);
//				serial_write_str(&debug, buf, bufLen);
//#endif	//if DEBUG_CAM==1
//			}
//		}
//	}
//	else if (bitRead(canRecvButton.data[1], APERTURE_DOWN_bit)) {
//		if (camData.apertureState != AP_ST_DOWN) {
//			camData.apertureState = AP_ST_DOWN;
//
//			if (camData.camState == CAM_ST_SONY) {
////				VISCA_set_aperture_value(&sonyIface,&sonyCamera,0);
////				VISCA_set_aperture_down(&sonyIface, &sonyCamera);
//				VISCA_set_bright_down(&sonyIface, &sonyCamera);
//#if DEBUG_CAM==1
//				_i16 = 0;
//				_u16 = 0;
////				VISCA_get_aperture_value(&sonyIface, &sonyCamera, &_i16);
//				VISCA_get_bright_value(&sonyIface, &sonyCamera, &_u16);
//				bufLen = sprintf(buf, "%sAPERTURE DOWN, val= %d", vt100_lineX[startLineDebug + 1],
//						_u16);
//				serial_write_str(&debug, buf, bufLen);
//#endif	//if DEBUG_CAM==1
//			}
//		}
//	}
//	else {
//		camData.apertureState = AP_ST_NONE;
//	}	// end of APERTURE

	/* BRIGHTNESS */
	if (bitRead(canRecvButton.data[1], BRIGHTNESS_UP_bit)) {
		if (camData.brightnessState != BR_ST_UP) {
			camData.brightnessState = BR_ST_UP;

			if (camData.camState == CAM_ST_SONY) {
//				VISCA_set_bright_up(&sonyIface, &sonyCamera);
				VISCA_set_auto_exp_mode(&sonyIface, &sonyCamera, VISCA_AUTO_EXP_SHUTTER_PRIORITY);
//				VISCA_set_shutter_value(&sonyIface, &sonyCamera, 0x08);
				VISCA_set_shutter_up(&sonyIface, &sonyCamera);
			}
		}
	}
	else if (bitRead(canRecvButton.data[1], BRIGHTNESS_DOWN_bit)) {
		if (camData.brightnessState != BR_ST_DOWN) {
			camData.brightnessState = BR_ST_DOWN;

			if (camData.camState == CAM_ST_SONY) {
//				VISCA_set_bright_down(&sonyIface, &sonyCamera);
				VISCA_set_auto_exp_mode(&sonyIface, &sonyCamera, VISCA_AUTO_EXP_SHUTTER_PRIORITY);
//				VISCA_set_shutter_value(&sonyIface, &sonyCamera, 0x08);
				VISCA_set_shutter_down(&sonyIface, &sonyCamera);
			}
		}
	}
	else {
		camData.brightnessState = BR_ST_NONE;
	}	// end of BRIGHTNESS

	if (millis >= sendTimer) {
		sendTimer = millis + 500;

		if (camData.camState == CAM_ST_THERMAL)
			canSendOptCam.data[0] = 1;
		else
			canSendOptCam.data[0] = (camData.zoomValue << 1) & 0b1110;

		can1TxHeader.StdId = CAN_ID_RWS_OPT_CAM;
		memcpy(can1TxBuffer, canSendOptCam.data, canSendOptCam.size);
		can1TxHeader.DLC = canSendOptCam.size;

		if (HAL_CAN_AddTxMessage(&hcan1, &can1TxHeader, can1TxBuffer, &can1TxMailBox) != HAL_OK)
			;

	}
}

static void lrfPointerOn()
{
	serial_write(&lrf, 0xC5);
	serial_write(&lrf, 0x02);
	serial_write(&lrf, 0x97);
}

static void lrfConfig(uint32_t baud)
{
	uint8_t errorCounter = 0;
	HAL_UART_DeInit(lrf.huart);

	huart2.Instance = USART2;
	huart2.Init.BaudRate = baud;
	huart2.Init.WordLength = UART_WORDLENGTH_8B;
	huart2.Init.StopBits = UART_STOPBITS_1;
	huart2.Init.Parity = UART_PARITY_NONE;
	huart2.Init.Mode = UART_MODE_TX_RX;
	huart2.Init.HwFlowCtl = UART_HWCONTROL_NONE;
	huart2.Init.OverSampling = UART_OVERSAMPLING_16;
//	if (HAL_UART_Init(&huart2) != HAL_OK) {
//		_Error_Handler(__FILE__, __LINE__);
//	}
	while (HAL_UART_Init(&huart2) != HAL_OK) {
		if (++errorCounter >= 10)
			break;
		HAL_Delay(1);
	}

	serial_init(&lrf);
	lrf.TBufferRx->head = lrf.TBufferRx->tail = 0;
}

static void lrfInit(uint8_t step)
{
	memset(lrfData.buf, 0, LRF_BUFSIZE);

	if (step == 0) {
		lrfConfig(19200);
		HAL_GPIO_WritePin(LRF_EN_GPIO_Port, LRF_EN_Pin, GPIO_PIN_SET);
	}
	else if (step == 1) {
		lrfConfig(115200);
		lrfData.state = LRF_STATE_STANDBY;
	}
}

static void lrfHandler()
{
	uint32_t millis = HAL_GetTick();
	static uint32_t sendTimer = 1000;
	static uint32_t lrfTimer = 0;
	static uint8_t bufPointer = 0;
	char c;
#if DEBUG_LRF==1
	uint8_t startDebugLine = 10;
#endif	//if DEBUG_LRF==1
	static uint8_t pointerSetOn = 0;

	switch (lrfData.state)
	{
	case LRF_STATE_STANDBY:
		/* LRF_EN button is ON */
		if (bitRead(canRecvButton.data[2], LRF_CMD_ENABLE_bit)) {
			/* enable LRF */
			lrfInit(0);
			lrfTimer = millis + 500;
			lrfData.state = LRF_STATE_POWER_ON;
		}

		if (bitRead(canRecvButton.data[2], LRF_CMD_POINTER_bit)) {
			if (pointerSetOn == 0) {
				pointerSetOn = 1;
				lrfPointerOn();
#if DEBUG_LRF==1
				bufLen = sprintf(buf, "%sPointer ON", vt100_lineX[startDebugLine + 0]);
				serial_write_str(&debug, buf, bufLen);
#endif	//if DEBUG_LRF==1
			}
		}
		else
			pointerSetOn = 0;

		break;
	case LRF_STATE_POWER_ON:
		if (lrfTimer > 0 && millis >= lrfTimer) {
			/* TODO check lrf availibility*/

			lrfInit(1);
			lrfTimer = 0;
			lrfData.state = LRF_STATE_READY;
			/* set pointer ON */
			lrfPointerOn();
#if DEBUG_LRF==1
			bufLen = sprintf(buf, "%sPower ON", vt100_lineX[startDebugLine + 0]);
			serial_write_str(&debug, buf, bufLen);
#endif	//if DEBUG_LRF==1
		}
		break;
	case LRF_STATE_READY:
		/* LRF_START button is ON */
		if (bitRead(canRecvButton.data[2], LRF_CMD_START_bit)) {
			/* send 1 measurement command */
			memset(lrfData.buf, 0, LRF_BUFSIZE);
			bufPointer = 0;
			/* clear RX buffer */
			lrf.TBufferRx->head = lrf.TBufferRx->tail = 0;
			serial_write(&lrf, 0x12);
			serial_write(&lrf, 0x42);
			lrfTimer = millis + 5000;
			lrfData.state = LRF_STATE_1_MEASUREMENT;
#if DEBUG_LRF==1
			bufLen = sprintf(buf, "%sStart Measuring", vt100_lineX[startDebugLine + 0]);
			serial_write_str(&debug, buf, bufLen);
#endif	//if DEBUG_LRF==1
		}
		/* LRF_EN button is OFF */
		if (!bitRead(canRecvButton.data[2], LRF_CMD_ENABLE_bit)) {
#if DEBUG_LRF==1
			bufLen = sprintf(buf, "%sPower Off", vt100_lineX[startDebugLine + 0]);
			serial_write_str(&debug, buf, bufLen);
#endif	//if DEBUG_LRF==1
			lrfData.state = LRF_STATE_POWER_OFF;
		}
		break;
	case LRF_STATE_1_MEASUREMENT:
		/* LRF_EN button is OFF */
		if (!bitRead(canRecvButton.data[2], LRF_CMD_ENABLE_bit)) {
			lrfTimer = 0;
			lrfData.state = LRF_STATE_POWER_OFF;
		}

		/* timeout */
		if (lrfTimer > 0 && millis >= lrfTimer) {
			lrfTimer = 0;
			lrfData.state = LRF_STATE_POWER_OFF;
		}

		if (serial_available(&lrf)) {
			c = serial_read(&lrf);

#if DEBUG_LRF==1
			if (c != 0) {
				bufLen = sprintf(buf, "%02X ", (uint8_t) c);
				serial_write_str(&debug, buf, bufLen);
			}
#endif	//if DEBUG_LRF==1

			if (bufPointer == 0) {
				if (c == 0x59)
					lrfData.buf[bufPointer++] = (uint8_t) c;
			}
			else
				lrfData.buf[bufPointer++] = (uint8_t) c;

			if (bufPointer >= 10) {
				if (lrfData.buf[0] == 0x59 && lrfData.buf[1] == 0x12) {
					if ((lrfData.buf[8] & 0x3C) == 0) {
						lrfData.distance = (uint16_t) lrfData.buf[3] << 8 | lrfData.buf[2];
						lrfData.distance /= 2;
#if DEBUG_LRF==1
						bufLen = sprintf(buf, "%s%d\t d= %4dm", vt100_lineX[startDebugLine + 1],
								lrfData.validCounter, lrfData.distance);
						serial_write_str(&debug, buf, bufLen);
#endif	//if DEBUG_LRF==1
					}
					else {
						lrfData.distance = (lrfData.buf[8] >> 2) & 0xF;
#if DEBUG_LRF==1
						bufLen = sprintf(buf, "%sError, status byte= 0x%X",
								vt100_lineX[startDebugLine + 1], lrfData.buf[8]);
						serial_write_str(&debug, buf, bufLen);
#endif	//if DEBUG_LRF==1
					}
					lrfData.validCounter++;
				}	//if(lrfData.buf[0]==0x59 && lrfData.buf[1]==0x12){
				lrfTimer = millis + 500;
				lrfData.state = LRF_STATE_DELAY_MEASUREMENT;
			}	//if(bufPointer>=10){
		}
		break;
	case LRF_STATE_DELAY_MEASUREMENT:
		if (lrfTimer > 0 && millis >= lrfTimer) {
			lrfTimer = 0;
			lrfData.state = LRF_STATE_READY;
		}
		break;
	case LRF_STATE_CONT_MEASUREMENT:
		break;
	case LRF_STATE_POWER_OFF:
		/* disable LRF_EN */
		HAL_GPIO_WritePin(LRF_EN_GPIO_Port, LRF_EN_Pin, GPIO_PIN_SET);
		lrfData.state = LRF_STATE_STANDBY;
		break;
	}

	if (millis >= sendTimer) {
		sendTimer = millis + 500;

		canSendOptLrf.data[0] = lrfData.validCounter;
		canSendOptLrf.data[1] = lrfData.distance & 0xFF;
		canSendOptLrf.data[2] = (lrfData.distance >> 8) & 0xFF;

		can1TxHeader.StdId = CAN_ID_RWS_OPT_LRF;
		memcpy(can1TxBuffer, canSendOptLrf.data, canSendOptLrf.size);
		can1TxHeader.DLC = canSendOptLrf.size;

		if (HAL_CAN_AddTxMessage(&hcan1, &can1TxHeader, can1TxBuffer, &can1TxMailBox) != HAL_OK)
			;
	}
}

static void canHandler()
{
	uint32_t millis = HAL_GetTick();
#if DEBUG_BUS==1
	const uint8_t startLineDebug = 2;
#endif	//if DEBUG_BUS==1
	static uint32_t recvButtonTimer = 0;

	/* Receive Data from Optronik - CAM */
	if (canRecvButton.state) {
		canRecvButton.state = false;
		recvButtonTimer = millis + CAN_RECEIVE_TIMEOUT;
		canRecvButton.online = 1;

#if DEBUG_BUS==1
		bufLen = sprintf(buf, "%sRecv Button: ", vt100_lineX[startLineDebug + 0]);
		serial_write_str(&debug, buf, bufLen);
		for ( int i = 0; i < canRecvButton.size; i++ ) {
			bufLen = sprintf(buf, "0x%02X ", canRecvButton.data[i]);
			serial_write_str(&debug, buf, bufLen);
		}
#endif	//if DEBUG_BUS==1
	}

	if (recvButtonTimer > 0 && millis >= recvButtonTimer) {
		recvButtonTimer = 0;
		canRecvButton.online = 0;

		memset(canRecvButton.data, 0, canRecvButton.size);
#if DEBUG_BUS==1
		bufLen = sprintf(buf, "%sno Data", vt100_lineX[startLineDebug + 0]);
		serial_write_str(&debug, buf, bufLen);
#endif	//if DEBUG_BUS==1

	}
}

static void CAN_Config()
{
	CAN_FilterTypeDef sFilterConfig;

	/*##-2- Configure the CAN Filter ###########################################*/
	sFilterConfig.FilterBank = 0;
	sFilterConfig.FilterMode = CAN_FILTERMODE_IDMASK;
	sFilterConfig.FilterScale = CAN_FILTERSCALE_32BIT;

	sFilterConfig.FilterIdHigh = (CAN_ID_RWS_BUTTON << 5);
	sFilterConfig.FilterIdLow = 0;
	sFilterConfig.FilterMaskIdHigh = (CAN_ID_RWS_BUTTON << 5);
	sFilterConfig.FilterMaskIdLow = 0;

	sFilterConfig.FilterFIFOAssignment = CAN_RX_FIFO0;
	sFilterConfig.FilterActivation = ENABLE;
	sFilterConfig.SlaveStartFilterBank = 14;

	if (HAL_CAN_ConfigFilter(&hcan1, &sFilterConfig) != HAL_OK) {
		/* filter configuration error */
		Error_Handler();
	}

	/*##-3- Start the CAN peripheral ###########################################*/
	if (HAL_CAN_Start(&hcan1) != HAL_OK) {
		/* Start Error */
		Error_Handler();
	}

	/*##-4- Activate CAN RX notification #######################################*/
	if (HAL_CAN_ActivateNotification(&hcan1, CAN_IT_RX_FIFO0_MSG_PENDING) != HAL_OK) {
		/* Notification Error */
		Error_Handler();
	}

	/*##-5- Configure Transmission process #####################################*/
	can1TxHeader.StdId = 0x123;
	can1TxHeader.ExtId = 0x01;
	can1TxHeader.RTR = CAN_RTR_DATA;
	can1TxHeader.IDE = CAN_ID_STD;
	can1TxHeader.DLC = CAN_BUFSIZE;
	can1TxHeader.TransmitGlobalTime = DISABLE;

#if USE_CAN2
	/*##-2- Configure the CAN Filter ###########################################*/
	sFilterConfig.FilterBank = 14;
	sFilterConfig.FilterMode = CAN_FILTERMODE_IDMASK;
	sFilterConfig.FilterScale = CAN_FILTERSCALE_16BIT;
	sFilterConfig.FilterIdHigh = (0x100 << 5);
	sFilterConfig.FilterIdLow = (0x100 << 5);
	sFilterConfig.FilterMaskIdHigh = (0x700 << 5);
	sFilterConfig.FilterMaskIdLow = (0x700 << 5);
	sFilterConfig.FilterFIFOAssignment = CAN_RX_FIFO1;
	sFilterConfig.FilterActivation = ENABLE;
	sFilterConfig.SlaveStartFilterBank = 14;

	if (HAL_CAN_ConfigFilter(&hcan2, &sFilterConfig) != HAL_OK) {
		/* filter configuration error */
		Error_Handler();
	}

	/*##-3- Start the CAN peripheral ###########################################*/
	if (HAL_CAN_Start(&hcan2) != HAL_OK) {
		/* Start Error */
		Error_Handler();
	}

	/*##-4- Activate CAN RX notification #######################################*/
	if (HAL_CAN_ActivateNotification(&hcan2, CAN_IT_RX_FIFO1_MSG_PENDING) != HAL_OK) {
		/* Notification Error */
		Error_Handler();
	}

	/*##-5- Configure Transmission process #####################################*/
	can2TxHeader.StdId = 0x21;
	can2TxHeader.ExtId = 0x01;
	can2TxHeader.RTR = CAN_RTR_DATA;
	can2TxHeader.IDE = CAN_ID_STD;
	can2TxHeader.DLC = CAN_BUFSIZE;
	can2TxHeader.TransmitGlobalTime = DISABLE;

#endif	//if USE_CAN2

}

/**
 * @brief  Rx Fifo 0 message pending callback
 * @param  hcan: pointer to a CAN_HandleTypeDef structure that contains
 *         the configuration information for the specified CAN.
 * @retval None
 */
void HAL_CAN_RxFifo0MsgPendingCallback(CAN_HandleTypeDef *hcan)
{
	uint32_t _id = 0;

	if (HAL_CAN_GetRxMessage(hcan, CAN_RX_FIFO0, &can1RxHeader, can1RxBuffer) == HAL_OK) {
		_id = can1RxHeader.StdId;
		if (_id == CAN_ID_RWS_BUTTON) {
			canRecvButton.state = true;
			memcpy(canRecvButton.data, can1RxBuffer, canRecvButton.size);
		}
	}
}

#if DEBUG==1
void UART4_IRQHandler(void)
{
	USARTx_IRQHandler(&debug);
}
#endif	//if DEBUG==1

void USART6_IRQHandler(void)
{
	sonyRetState = USARTx_IRQHandler(&sony);
}

void USART3_IRQHandler(void)
{
	thermalRetState = USARTx_IRQHandler(&thermal);
}

void USART2_IRQHandler(void)
{
	USARTx_IRQHandler(&lrf);
}

/* TODO End of Functions Declarations*/
/* USER CODE END 4 */

void Error_Handler(void)
{
	while (1) {
	}
}

/************************ (C) COPYRIGHT STMicroelectronics *****END OF FILE****/
